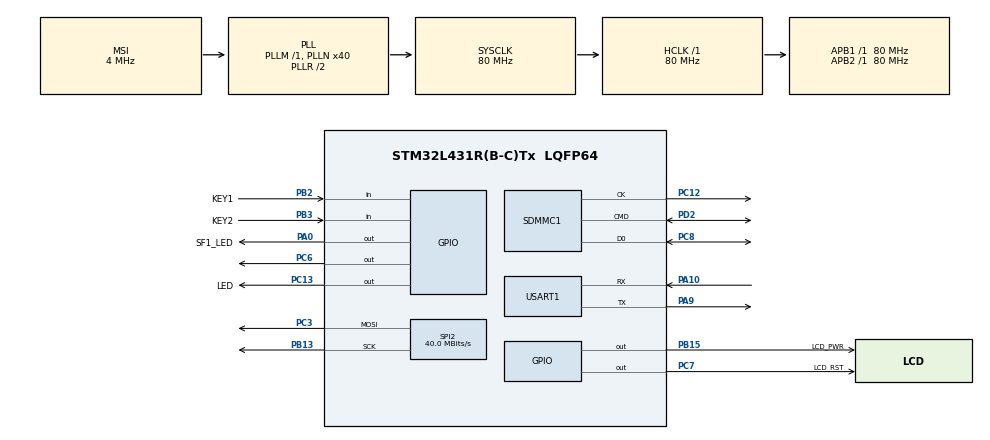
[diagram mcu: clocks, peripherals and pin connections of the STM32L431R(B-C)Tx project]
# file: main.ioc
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FATFS._CODE_PAGE=936
FATFS._USE_CHMOD=0
FATFS._USE_EXPAND=0
FATFS._USE_FIND=0
FATFS._USE_FORWARD=0
FATFS._USE_LABEL=0
FATFS._USE_LFN=2
Mcu.Family=STM32L4
Mcu.Name=STM32L431R(B-C)Tx
Mcu.Package=LQFP64
NVIC.PriorityGroup=NVIC_PRIORITYGROUP_4
NVIC.SDMMC1_IRQn=true\:0\:0\:false\:false\:true\:true\:true
NVIC.USART1_IRQn=true\:0\:0\:false\:false\:true\:true\:true
PA0.GPIO_Label=SF1_LED
PA0.GPIO_Speed=GPIO_SPEED_FREQ_VERY_HIGH
PA0.Signal=GPIO_Output
PA10.Mode=Asynchronous
PA10.Signal=USART1_RX
PA13\ (JTMS-SWDIO).Mode=Serial_Wire
PA13\ (JTMS-SWDIO).Signal=SYS_JTMS-SWDIO
PA14\ (JTCK-SWCLK).Mode=Serial_Wire
PA14\ (JTCK-SWCLK).Signal=SYS_JTCK-SWCLK
PA9.Mode=Asynchronous
PA9.Signal=USART1_TX
PB13.Mode=TX_Only_Simplex_Unidirect_Master
PB13.Signal=SPI2_SCK
PB15.GPIO_Label=LCD_PWR
PB15.GPIO_Speed=GPIO_SPEED_FREQ_VERY_HIGH
PB15.Signal=GPIO_Output
PB2.GPIO_Label=KEY1
PB2.GPIO_PuPd=GPIO_PULLUP
PB2.Signal=GPIO_Input
PB3\ (JTDO-TRACESWO).GPIO_Label=KEY2
PB3\ (JTDO-TRACESWO).GPIO_PuPd=GPIO_PULLUP
PB3\ (JTDO-TRACESWO).Signal=GPIO_Input
PB8.Signal=S_TIM16_CH1
PC12.Mode=SD_1_bit
PC12.Signal=SDMMC1_CK
PC13.GPIO_Label=LED
PC13.Signal=GPIO_Output
PC3.Mode=TX_Only_Simplex_Unidirect_Master
PC3.Signal=SPI2_MOSI
PC6.Signal=GPIO_Output
PC7.GPIO_Label=LCD_RST
PC7.GPIO_Speed=GPIO_SPEED_FREQ_VERY_HIGH
PC7.Signal=GPIO_Output
PC8.Mode=SD_1_bit
PC8.Signal=SDMMC1_D0
PD2.Mode=SD_1_bit
PD2.Signal=SDMMC1_CMD
PH0-OSC_IN\ (PH0).Mode=HSE-External-Oscillator
PH0-OSC_IN\ (PH0).Signal=RCC_OSC_IN
PH1-OSC_OUT\ (PH1).Mode=HSE-External-Oscillator
PH1-OSC_OUT\ (PH1).Signal=RCC_OSC_OUT
ProjectManager.HeapSize=0x1000
ProjectManager.StackSize=0x1200
ProjectManager.TargetToolchain=MDK-ARM V5
RCC.ADCFreq_Value=32000000
RCC.AHBFreq_Value=80000000
RCC.APB1Freq_Value=80000000
RCC.APB1TimFreq_Value=80000000
RCC.APB2Freq_Value=80000000
RCC.APB2TimFreq_Value=80000000
RCC.CortexFreq_Value=80000000
RCC.HCLKFreq_Value=80000000
RCC.HSE_VALUE=8000000
RCC.HSI48_VALUE=48000000
RCC.HSI_VALUE=16000000
RCC.LSE_VALUE=32768
RCC.MSI_VALUE=4000000
RCC.PLLN=40
RCC.PLLSAI1N=16
RCC.SYSCLKFreq_VALUE=80000000
RCC.SYSCLKSource=RCC_SYSCLKSOURCE_PLLCLK
RCC.VCOOutputFreq_Value=160000000
SDMMC1.ClockDiv=4
SH.S_TIM16_CH1.0=TIM16_CH1
SPI2.CLKPhase=SPI_PHASE_2EDGE
SPI2.CLKPolarity=SPI_POLARITY_HIGH
SPI2.CalculateBaudRate=40.0 MBits/s
SPI2.DataSize=SPI_DATASIZE_8BIT
SPI2.Direction=SPI_DIRECTION_2LINES
SPI2.Mode=SPI_MODE_MASTER
SPI2.VirtualType=VM_MASTER
USART1.VirtualMode-Asynchronous=VM_ASYNC
VP_FATFS_VS_SDIO.Mode=SDIO
VP_RTC_VS_RTC_Activate.Mode=RTC_Enabled
board=custom

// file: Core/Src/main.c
/* USER CODE BEGIN Header */
/**
  ******************************************************************************
  * @file           : main.c
  * @brief          : Main program body
  ******************************************************************************
  * @attention
  *
  * <h2><center>&copy; Copyright (c) 2020 STMicroelectronics.
  * All rights reserved.</center></h2>
  *
  * This software component is licensed by ST under BSD 3-Clause license,
  * the "License"; You may not use this file except in compliance with the
  * License. You may obtain a copy of the License at:
  *                        opensource.org/licenses/BSD-3-Clause
  *
  ******************************************************************************
  */
/* USER CODE END Header */
#include "main.h"
#include "fatfs.h"
#include "rtc.h"
#include "sdmmc.h"
#include "spi.h"
#include "usart.h"
#include "gpio.h"

void SystemClock_Config(void);
/* USER CODE BEGIN PFP */
/*挂载SD卡*/
int Mount_SD(void)
{
    /*挂载SD卡*/
    retSD = f_mount(&SDFatFS, SDPath, 1);

    if(FR_OK != retSD)
        return -1 ;

    return 0 ;
}
/* USER CODE END PFP */

/* USER CODE BEGIN 0 */
#if 0
uint8_t framebuffer[57600] = {1};
void sd_show_picture_bin(const char *path)
{
    UINT br;
    FIL fil ;
    FRESULT res;
    res = f_open(&fil, path,FA_READ);
    res = f_read(&fil, framebuffer, 57600, &br);
    LCD_Show_Image(0, 0, 240, 120, (uint8_t *)framebuffer);
		LCD_Show_Image(0, 120, 240, 120, (uint8_t *)framebuffer);
    f_close(&fil);
}
#endif

/*一张RGB565图片占用的缓存大小*/
#define PIC_SIZE 32768
/*在LCD的X坐标*/
#define DISPLAY_START_X 0
/*在LCD的Y坐标*/
#define DISPLAY_START_Y 0
/*LCD宽度分辨率*/
#define OLED_WIDTH   128
/*LCD高度分辨率*/
#define OLED_HEIGHT  128
/*用于显示的缓存区*/
uint8_t framebuffer[PIC_SIZE] = {1};
int sd_show_picture_bin(const char *path)
{
    UINT br;
    FIL fil ;
    int offset = 0 ;
    int file_size ;
    FRESULT res ;
    /*1.打开传进来的Fatfs文件路径: path*/
    res = f_open(&fil, path, FA_READ);

    if(FR_OK != res)
        return -1;

    /*2.计算这个文件的大小*/
    file_size = f_size(&fil);
    /*3.初始化偏移变量为0*/
    offset = 0 ;

    /*4.计算bin文件里一共包含多少张图片，然后不断的给LCD进行显示*/
    for(int i = 0 ; i < file_size / PIC_SIZE ; i++)
    {
        /*5.读取一张图片,一张图片的大小是PIC_SIZE，
        		将读取出来的图片存放到缓存区framebuffer数组里*/
        res = f_read(&fil, framebuffer, PIC_SIZE, &br);

        if(FR_OK != res)
            return -2;

        /*6.将整个数组赋值给显示接口，显示图片*/
        LCD_Show_Image(DISPLAY_START_X, DISPLAY_START_Y, OLED_WIDTH, OLED_HEIGHT, (uint8_t *)framebuffer);
        /*7.将偏移往后加PIC_SIZE，就到了下一张图片*/
        offset += PIC_SIZE;
        res = f_lseek(&fil, offset);

        if(FR_OK != res)
            return -3;
    }

    /*8.关闭文件描述符*/
    res = f_close(&fil);

    if(FR_OK != res)
        return -4;

    return 0 ;
}
/* USER CODE END 0 */

int main(void)
{
    /* USER CODE BEGIN 1 */
    int ret = -1 ;
		int index = 0 ;
		char buf[20] = {0};
    /* USER CODE END 1 */

    /* MCU Configuration--------------------------------------------------------*/

    /* Reset of all peripherals, Initializes the Flash interface and the Systick. */
    HAL_Init();

    /* Configure the system clock */
    SystemClock_Config();

    /* Initialize all configured peripherals */
    MX_GPIO_Init();
    MX_SPI2_Init();
    MX_USART1_UART_Init();
    MX_RTC_Init();
    MX_SDMMC1_SD_Init();
    MX_FATFS_Init();
    /* USER CODE BEGIN 2 */
    /*LCD初始化，没开背光*/
    LCD_Init();
    /*挂载SD卡*/
    ret = Mount_SD();
    if(ret != 0)
    {
        printf("SD Card mount ERROR\r\n");
        /*如果挂载失败则点亮板子上的调试灯*/
        HAL_GPIO_WritePin(LED_GPIO_Port, LED_Pin, GPIO_PIN_SET);
        return -1 ;
    }

    printf("SD卡挂载成功!\n");
    LCD_DisplayOn();
    /* USER CODE END 2 */

    /* Infinite loop */
    while (1)
    {

        /* USER CODE BEGIN 3 */
				sd_show_picture_bin("0:/boy.bin");
    }

    /* USER CODE END 3 */
}

void SystemClock_Config(void)
{
    RCC_OscInitTypeDef RCC_OscInitStruct = {0};
    RCC_ClkInitTypeDef RCC_ClkInitStruct = {0};
    RCC_PeriphCLKInitTypeDef PeriphClkInit = {0};

    /** Initializes the RCC Oscillators according to the specified parameters
    * in the RCC_OscInitTypeDef structure.
    */
    RCC_OscInitStruct.OscillatorType = RCC_OSCILLATORTYPE_LSI | RCC_OSCILLATORTYPE_MSI;
    RCC_OscInitStruct.LSIState = RCC_LSI_ON;
    RCC_OscInitStruct.MSIState = RCC_MSI_ON;
    RCC_OscInitStruct.MSICalibrationValue = 0;
    RCC_OscInitStruct.MSIClockRange = RCC_MSIRANGE_6;
    RCC_OscInitStruct.PLL.PLLState = RCC_PLL_ON;
    RCC_OscInitStruct.PLL.PLLSource = RCC_PLLSOURCE_MSI;
    RCC_OscInitStruct.PLL.PLLM = 1;
    RCC_OscInitStruct.PLL.PLLN = 40;
    RCC_OscInitStruct.PLL.PLLP = RCC_PLLP_DIV7;
    RCC_OscInitStruct.PLL.PLLQ = RCC_PLLQ_DIV2;
    RCC_OscInitStruct.PLL.PLLR = RCC_PLLR_DIV2;

    if (HAL_RCC_OscConfig(&RCC_OscInitStruct) != HAL_OK)
    {
        Error_Handler();
    }

    /** Initializes the CPU, AHB and APB buses clocks
    */
    RCC_ClkInitStruct.ClockType = RCC_CLOCKTYPE_HCLK | RCC_CLOCKTYPE_SYSCLK
                                  | RCC_CLOCKTYPE_PCLK1 | RCC_CLOCKTYPE_PCLK2;
    RCC_ClkInitStruct.SYSCLKSource = RCC_SYSCLKSOURCE_PLLCLK;
    RCC_ClkInitStruct.AHBCLKDivider = RCC_SYSCLK_DIV1;
    RCC_ClkInitStruct.APB1CLKDivider = RCC_HCLK_DIV1;
    RCC_ClkInitStruct.APB2CLKDivider = RCC_HCLK_DIV1;

    if (HAL_RCC_ClockConfig(&RCC_ClkInitStruct, FLASH_LATENCY_4) != HAL_OK)
    {
        Error_Handler();
    }

    PeriphClkInit.PeriphClockSelection = RCC_PERIPHCLK_RTC | RCC_PERIPHCLK_USART1
                                         | RCC_PERIPHCLK_SDMMC1;
    PeriphClkInit.Usart1ClockSelection = RCC_USART1CLKSOURCE_PCLK2;
    PeriphClkInit.RTCClockSelection = RCC_RTCCLKSOURCE_LSI;
    PeriphClkInit.Sdmmc1ClockSelection = RCC_SDMMC1CLKSOURCE_PLLSAI1;
    PeriphClkInit.PLLSAI1.PLLSAI1Source = RCC_PLLSOURCE_MSI;
    PeriphClkInit.PLLSAI1.PLLSAI1M = 1;
    PeriphClkInit.PLLSAI1.PLLSAI1N = 16;
    PeriphClkInit.PLLSAI1.PLLSAI1P = RCC_PLLP_DIV7;
    PeriphClkInit.PLLSAI1.PLLSAI1Q = RCC_PLLQ_DIV2;
    PeriphClkInit.PLLSAI1.PLLSAI1R = RCC_PLLR_DIV2;
    PeriphClkInit.PLLSAI1.PLLSAI1ClockOut = RCC_PLLSAI1_48M2CLK;

    if (HAL_RCCEx_PeriphCLKConfig(&PeriphClkInit) != HAL_OK)
    {
        Error_Handler();
    }

    /** Configure the main internal regulator output voltage
    */
    if (HAL_PWREx_ControlVoltageScaling(PWR_REGULATOR_VOLTAGE_SCALE1) != HAL_OK)
    {
        Error_Handler();
    }
}

void Error_Handler(void)
{
}

/************************ (C) COPYRIGHT STMicroelectronics *****END OF FILE****/
